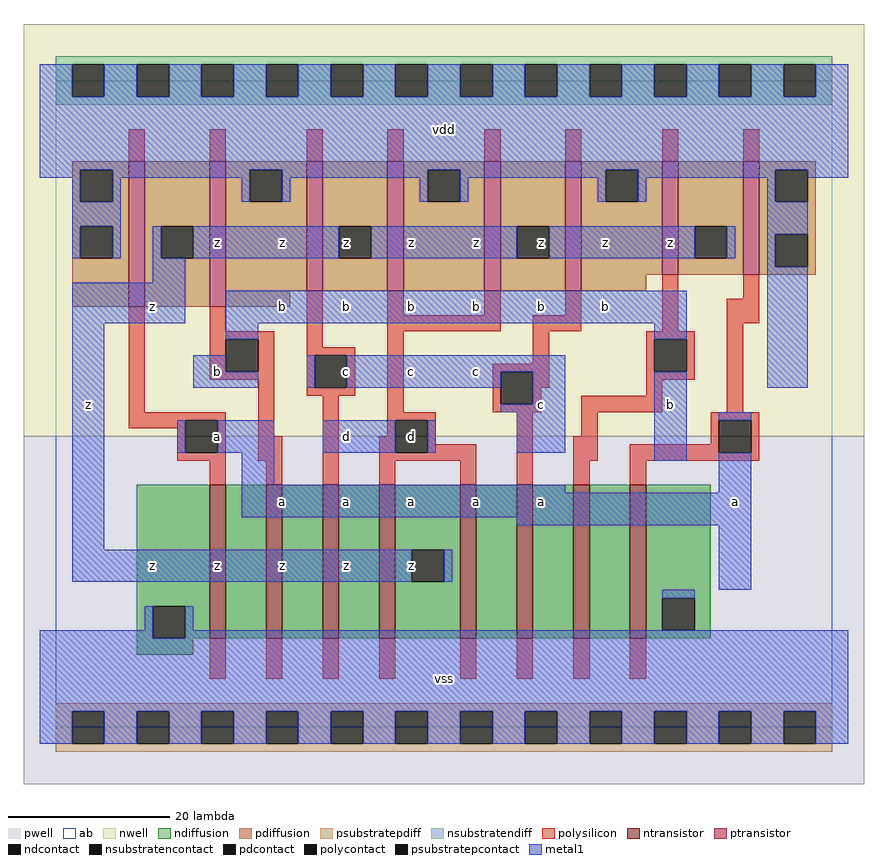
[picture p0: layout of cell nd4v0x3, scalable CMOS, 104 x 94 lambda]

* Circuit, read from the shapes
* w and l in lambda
.subckt nd4v0x3 a b c d vdd vss z
M1 n1 a vss vss nfet w=19 l=2
M2 n2 b n1 vss nfet w=19 l=2
M3 n3 c n2 vss nfet w=19 l=2
M4 z d n3 vss nfet w=19 l=2
M5 n4 d z vss nfet w=19 l=2
M6 n5 c n4 vss nfet w=19 l=2
M7 n6 b n5 vss nfet w=19 l=2
M8 vss a n6 vss nfet w=19 l=2
M9 z a vdd vdd pfet w=18 l=2
M10 vdd b z vdd pfet w=18 l=2
M11 z c vdd vdd pfet w=16 l=2 m=2
M12 vdd d z vdd pfet w=16 l=2 m=2
M13 z b vdd vdd pfet w=14 l=2
M14 vdd a z vdd pfet w=14 l=2
.ends

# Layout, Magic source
magic
tech scmos
<< ab >>
rect 0 0 96 80
<< pwell >>
rect -4 -7 100 36
<< nwell >>
rect -4 36 100 87
<< polysilicon >>
rect 9 70 11 74
rect 19 70 21 74
rect 31 70 33 74
rect 41 70 43 74
rect 53 70 55 74
rect 63 70 65 74
rect 75 70 77 74
rect 85 70 87 74
rect 9 39 11 52
rect 19 49 21 52
rect 19 48 27 49
rect 19 44 21 48
rect 25 44 27 48
rect 19 43 27 44
rect 9 38 21 39
rect 9 37 16 38
rect 15 34 16 37
rect 20 34 21 38
rect 15 33 21 34
rect 25 36 27 43
rect 31 47 33 54
rect 41 51 43 54
rect 53 51 55 54
rect 63 51 65 54
rect 41 49 55 51
rect 59 49 65 51
rect 75 49 77 56
rect 85 53 87 56
rect 83 50 87 53
rect 31 46 37 47
rect 31 42 32 46
rect 36 42 37 46
rect 31 41 37 42
rect 25 33 28 36
rect 19 30 21 33
rect 26 30 28 33
rect 33 30 35 41
rect 41 39 43 49
rect 59 45 61 49
rect 54 44 61 45
rect 54 40 55 44
rect 59 42 61 44
rect 73 48 79 49
rect 73 44 74 48
rect 78 44 79 48
rect 73 43 79 44
rect 59 40 60 42
rect 73 41 75 43
rect 54 39 60 40
rect 65 39 75 41
rect 83 39 85 50
rect 41 38 47 39
rect 41 36 42 38
rect 40 34 42 36
rect 46 35 47 38
rect 46 34 52 35
rect 40 33 52 34
rect 40 30 42 33
rect 50 30 52 33
rect 57 30 59 39
rect 65 36 67 39
rect 64 33 67 36
rect 81 38 87 39
rect 81 35 82 38
rect 71 34 82 35
rect 86 34 87 38
rect 71 33 87 34
rect 64 30 66 33
rect 71 30 73 33
rect 19 6 21 11
rect 26 6 28 11
rect 33 6 35 11
rect 40 6 42 11
rect 50 6 52 11
rect 57 6 59 11
rect 64 6 66 11
rect 71 6 73 11
<< ndiffusion >>
rect 10 15 19 30
rect 10 11 12 15
rect 16 11 19 15
rect 21 11 26 30
rect 28 11 33 30
rect 35 11 40 30
rect 42 22 50 30
rect 42 18 44 22
rect 48 18 50 22
rect 42 11 50 18
rect 52 11 57 30
rect 59 11 64 30
rect 66 11 71 30
rect 73 16 81 30
rect 73 12 75 16
rect 79 12 81 16
rect 73 11 81 12
rect 10 9 17 11
<< pdiffusion >>
rect 2 69 9 70
rect 2 65 3 69
rect 7 65 9 69
rect 2 62 9 65
rect 2 58 3 62
rect 7 58 9 62
rect 2 52 9 58
rect 11 62 19 70
rect 11 58 13 62
rect 17 58 19 62
rect 11 52 19 58
rect 21 69 31 70
rect 21 65 24 69
rect 28 65 31 69
rect 21 54 31 65
rect 33 62 41 70
rect 33 58 35 62
rect 39 58 41 62
rect 33 54 41 58
rect 43 69 53 70
rect 43 65 46 69
rect 50 65 53 69
rect 43 54 53 65
rect 55 62 63 70
rect 55 58 57 62
rect 61 58 63 62
rect 55 54 63 58
rect 65 69 75 70
rect 65 65 68 69
rect 72 65 75 69
rect 65 56 75 65
rect 77 62 85 70
rect 77 58 79 62
rect 83 58 85 62
rect 77 56 85 58
rect 87 69 94 70
rect 87 65 89 69
rect 93 65 94 69
rect 87 61 94 65
rect 87 57 89 61
rect 93 57 94 61
rect 87 56 94 57
rect 65 54 73 56
rect 21 52 29 54
<< metal1 >>
rect -2 78 2 82
rect 6 78 10 82
rect 14 78 18 82
rect 22 78 26 82
rect 30 78 34 82
rect 38 78 42 82
rect 46 78 50 82
rect 54 78 58 82
rect 62 78 66 82
rect 70 78 74 82
rect 78 78 82 82
rect 86 78 90 82
rect 94 78 98 82
rect -2 69 98 78
rect -2 68 3 69
rect 2 65 3 68
rect 7 68 24 69
rect 7 65 8 68
rect 23 65 24 68
rect 28 68 46 69
rect 28 65 29 68
rect 45 65 46 68
rect 50 68 68 69
rect 50 65 51 68
rect 67 65 68 68
rect 72 68 89 69
rect 72 65 73 68
rect 88 65 89 68
rect 93 68 98 69
rect 2 62 8 65
rect 2 58 3 62
rect 7 58 8 62
rect 12 58 13 62
rect 17 58 35 62
rect 39 58 57 62
rect 61 58 79 62
rect 83 58 84 62
rect 88 61 93 65
rect 12 55 16 58
rect 2 50 16 55
rect 88 57 89 61
rect 21 50 78 54
rect 2 22 6 50
rect 21 48 25 50
rect 17 44 21 46
rect 74 48 78 50
rect 17 42 25 44
rect 31 42 32 46
rect 36 44 63 46
rect 36 42 55 44
rect 59 40 63 44
rect 55 39 63 40
rect 15 34 16 38
rect 20 34 27 38
rect 33 34 42 38
rect 46 34 47 38
rect 57 34 63 39
rect 23 30 27 34
rect 74 33 78 44
rect 88 42 93 57
rect 82 38 86 39
rect 23 29 63 30
rect 82 29 86 34
rect 23 26 86 29
rect 57 25 86 26
rect 2 18 44 22
rect 48 18 49 22
rect 82 17 86 25
rect 75 16 79 17
rect 11 12 12 15
rect -2 11 12 12
rect 16 12 17 15
rect 16 11 98 12
rect -2 2 98 11
rect -2 -2 2 2
rect 6 -2 10 2
rect 14 -2 18 2
rect 22 -2 26 2
rect 30 -2 34 2
rect 38 -2 42 2
rect 46 -2 50 2
rect 54 -2 58 2
rect 62 -2 66 2
rect 70 -2 74 2
rect 78 -2 82 2
rect 86 -2 90 2
rect 94 -2 98 2
<< ntransistor >>
rect 19 11 21 30
rect 26 11 28 30
rect 33 11 35 30
rect 40 11 42 30
rect 50 11 52 30
rect 57 11 59 30
rect 64 11 66 30
rect 71 11 73 30
<< ptransistor >>
rect 9 52 11 70
rect 19 52 21 70
rect 31 54 33 70
rect 41 54 43 70
rect 53 54 55 70
rect 63 54 65 70
rect 75 56 77 70
rect 85 56 87 70
<< polycontact >>
rect 21 44 25 48
rect 16 34 20 38
rect 32 42 36 46
rect 55 40 59 44
rect 74 44 78 48
rect 42 34 46 38
rect 82 34 86 38
<< ndcontact >>
rect 12 11 16 15
rect 44 18 48 22
rect 75 12 79 16
<< pdcontact >>
rect 3 65 7 69
rect 3 58 7 62
rect 13 58 17 62
rect 24 65 28 69
rect 35 58 39 62
rect 46 65 50 69
rect 57 58 61 62
rect 68 65 72 69
rect 79 58 83 62
rect 89 65 93 69
rect 89 57 93 61
<< psubstratepcontact >>
rect 2 -2 6 2
rect 10 -2 14 2
rect 18 -2 22 2
rect 26 -2 30 2
rect 34 -2 38 2
rect 42 -2 46 2
rect 50 -2 54 2
rect 58 -2 62 2
rect 66 -2 70 2
rect 74 -2 78 2
rect 82 -2 86 2
rect 90 -2 94 2
<< nsubstratencontact >>
rect 2 78 6 82
rect 10 78 14 82
rect 18 78 22 82
rect 26 78 30 82
rect 34 78 38 82
rect 42 78 46 82
rect 50 78 54 82
rect 58 78 62 82
rect 66 78 70 82
rect 74 78 78 82
rect 82 78 86 82
rect 90 78 94 82
<< psubstratepdiff >>
rect 0 2 96 3
rect 0 -2 2 2
rect 6 -2 10 2
rect 14 -2 18 2
rect 22 -2 26 2
rect 30 -2 34 2
rect 38 -2 42 2
rect 46 -2 50 2
rect 54 -2 58 2
rect 62 -2 66 2
rect 70 -2 74 2
rect 78 -2 82 2
rect 86 -2 90 2
rect 94 -2 96 2
rect 0 -3 96 -2
<< nsubstratendiff >>
rect 0 82 96 83
rect 0 78 2 82
rect 6 78 10 82
rect 14 78 18 82
rect 22 78 26 82
rect 30 78 34 82
rect 38 78 42 82
rect 46 78 50 82
rect 54 78 58 82
rect 62 78 66 82
rect 70 78 74 82
rect 78 78 82 82
rect 86 78 90 82
rect 94 78 96 82
rect 0 77 96 78
<< labels >>
rlabel metal1 12 20 12 20 6 z
rlabel metal1 4 40 4 40 6 z
rlabel metal1 12 52 12 52 6 z
rlabel metal1 20 20 20 20 6 z
rlabel metal1 28 20 28 20 6 z
rlabel metal1 28 28 28 28 6 a
rlabel metal1 20 36 20 36 6 a
rlabel metal1 20 44 20 44 6 b
rlabel metal1 28 52 28 52 6 b
rlabel metal1 20 60 20 60 6 z
rlabel metal1 28 60 28 60 6 z
rlabel metal1 48 6 48 6 6 vss
rlabel metal1 36 20 36 20 6 z
rlabel metal1 36 28 36 28 6 a
rlabel metal1 44 20 44 20 6 z
rlabel metal1 44 28 44 28 6 a
rlabel metal1 52 28 52 28 6 a
rlabel metal1 36 36 36 36 6 d
rlabel metal1 36 44 36 44 6 c
rlabel polycontact 44 36 44 36 6 d
rlabel metal1 44 44 44 44 6 c
rlabel metal1 52 44 52 44 6 c
rlabel metal1 44 52 44 52 6 b
rlabel metal1 52 52 52 52 6 b
rlabel metal1 36 52 36 52 6 b
rlabel pdcontact 36 60 36 60 6 z
rlabel metal1 44 60 44 60 6 z
rlabel metal1 52 60 52 60 6 z
rlabel metal1 48 74 48 74 6 vdd
rlabel metal1 60 28 60 28 6 a
rlabel metal1 60 40 60 40 6 c
rlabel metal1 76 40 76 40 6 b
rlabel metal1 68 52 68 52 6 b
rlabel metal1 60 52 60 52 6 b
rlabel pdcontact 60 60 60 60 6 z
rlabel metal1 68 60 68 60 6 z
rlabel metal1 76 60 76 60 6 z
rlabel metal1 84 28 84 28 6 a
<< end >>
